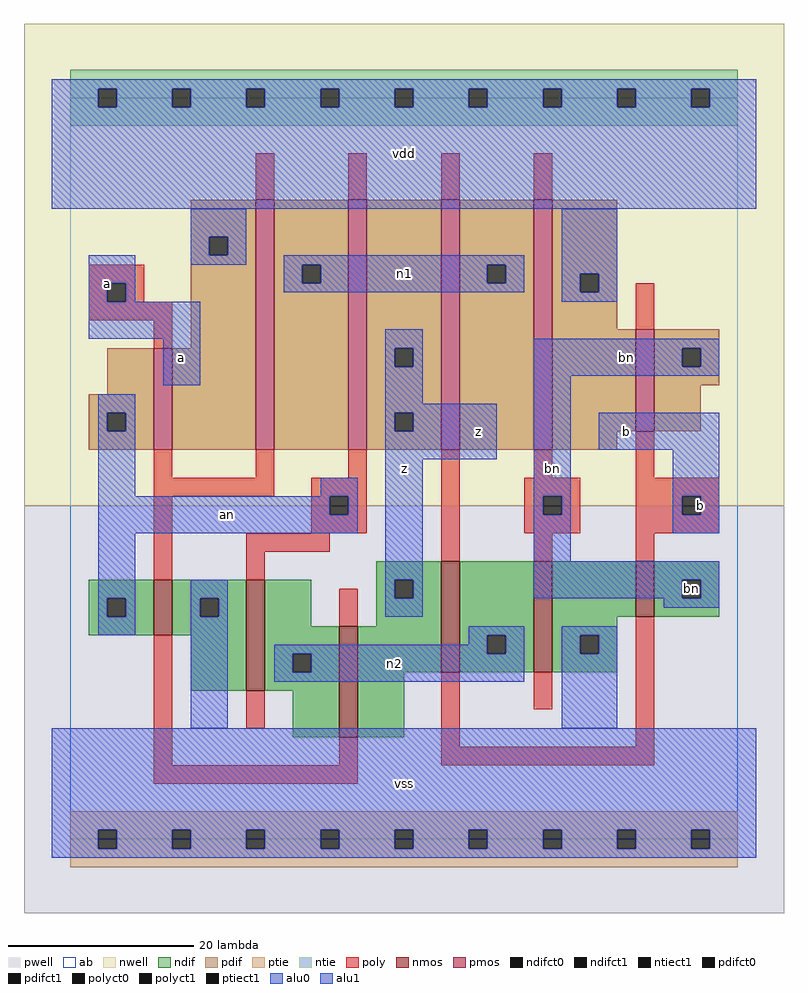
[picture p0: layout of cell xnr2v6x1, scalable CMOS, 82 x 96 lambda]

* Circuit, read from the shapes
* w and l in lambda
.subckt xnr2v6x1 a an b bn n1 n2 vdd vss z
M1 vss a an vss nfet w=6 l=2
M2 n2 an vss vss nfet w=12 l=2
M3 z a n2 vss nfet w=12 l=2
M4 n2 b z vss nfet w=12 l=2
M5 vss bn n2 vss nfet w=12 l=2
M6 bn b vss vss nfet w=6 l=2
M7 vdd a an vdd pfet w=11 l=2
M8 n1 a vdd vdd pfet w=27 l=2
M9 z an n1 vdd pfet w=27 l=2
M10 n1 b z vdd pfet w=27 l=2
M11 vdd bn n1 vdd pfet w=27 l=2
M12 bn b vdd vdd pfet w=11 l=2
.ends

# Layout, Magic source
magic
tech scmos
<< ab >>
rect 0 0 72 80
<< nwell >>
rect -5 36 77 88
<< pwell >>
rect -5 -8 77 36
<< poly >>
rect 20 69 22 74
rect 30 69 32 74
rect 40 69 42 74
rect 50 69 52 74
rect 2 60 8 62
rect 2 58 4 60
rect 6 58 8 60
rect 2 56 11 58
rect 9 53 11 56
rect 61 55 63 60
rect 9 39 11 42
rect 20 39 22 42
rect 30 39 32 42
rect 9 37 22 39
rect 26 37 32 39
rect 9 28 11 37
rect 26 35 28 37
rect 30 35 32 37
rect 26 33 32 35
rect 19 31 28 33
rect 19 28 21 31
rect 40 30 42 42
rect 50 39 52 42
rect 61 39 63 44
rect 49 37 55 39
rect 49 35 51 37
rect 53 35 55 37
rect 49 33 55 35
rect 61 37 70 39
rect 61 35 66 37
rect 68 35 70 37
rect 61 33 70 35
rect 50 30 52 33
rect 61 30 63 33
rect 9 8 11 22
rect 29 23 31 27
rect 19 12 21 16
rect 29 8 31 11
rect 40 10 42 18
rect 50 14 52 18
rect 61 10 63 24
rect 40 8 63 10
rect 9 6 31 8
<< ndif >>
rect 33 28 40 30
rect 2 26 9 28
rect 2 24 4 26
rect 6 24 9 26
rect 2 22 9 24
rect 11 26 19 28
rect 11 24 14 26
rect 16 24 19 26
rect 11 22 19 24
rect 13 16 19 22
rect 21 23 26 28
rect 33 26 35 28
rect 37 26 40 28
rect 33 23 40 26
rect 21 20 29 23
rect 21 18 24 20
rect 26 18 29 20
rect 21 16 29 18
rect 24 11 29 16
rect 31 18 40 23
rect 42 22 50 30
rect 42 20 45 22
rect 47 20 50 22
rect 42 18 50 20
rect 52 24 61 30
rect 63 28 70 30
rect 63 26 66 28
rect 68 26 70 28
rect 63 24 70 26
rect 52 22 59 24
rect 52 20 55 22
rect 57 20 59 22
rect 52 18 59 20
rect 31 11 36 18
<< pdif >>
rect 13 65 20 69
rect 13 63 15 65
rect 17 63 20 65
rect 13 53 20 63
rect 4 48 9 53
rect 2 46 9 48
rect 2 44 4 46
rect 6 44 9 46
rect 2 42 9 44
rect 11 42 20 53
rect 22 62 30 69
rect 22 60 25 62
rect 27 60 30 62
rect 22 42 30 60
rect 32 53 40 69
rect 32 51 35 53
rect 37 51 40 53
rect 32 46 40 51
rect 32 44 35 46
rect 37 44 40 46
rect 32 42 40 44
rect 42 62 50 69
rect 42 60 45 62
rect 47 60 50 62
rect 42 42 50 60
rect 52 61 59 69
rect 52 59 55 61
rect 57 59 59 61
rect 52 55 59 59
rect 52 44 61 55
rect 63 53 70 55
rect 63 51 66 53
rect 68 51 70 53
rect 63 49 70 51
rect 63 44 68 49
rect 52 42 59 44
<< alu1 >>
rect -2 81 74 82
rect -2 79 3 81
rect 5 79 11 81
rect 13 79 19 81
rect 21 79 27 81
rect 29 79 35 81
rect 37 79 43 81
rect 45 79 51 81
rect 53 79 59 81
rect 61 79 67 81
rect 69 79 74 81
rect -2 68 74 79
rect 2 60 7 63
rect 2 58 4 60
rect 6 58 7 60
rect 2 54 14 58
rect 10 49 14 54
rect 34 53 38 55
rect 34 51 35 53
rect 37 51 38 53
rect 34 47 38 51
rect 34 46 46 47
rect 34 44 35 46
rect 37 44 46 46
rect 34 41 46 44
rect 34 28 38 41
rect 34 26 35 28
rect 37 26 38 28
rect 57 42 70 46
rect 65 37 70 42
rect 65 35 66 37
rect 68 35 70 37
rect 65 33 70 35
rect 34 24 38 26
rect -2 1 74 12
rect -2 -1 3 1
rect 5 -1 11 1
rect 13 -1 19 1
rect 21 -1 27 1
rect 29 -1 35 1
rect 37 -1 43 1
rect 45 -1 51 1
rect 53 -1 59 1
rect 61 -1 67 1
rect 69 -1 74 1
rect -2 -2 74 -1
<< ptie >>
rect 0 1 72 3
rect 0 -1 3 1
rect 5 -1 11 1
rect 13 -1 19 1
rect 21 -1 27 1
rect 29 -1 35 1
rect 37 -1 43 1
rect 45 -1 51 1
rect 53 -1 59 1
rect 61 -1 67 1
rect 69 -1 72 1
rect 0 -3 72 -1
<< ntie >>
rect 0 81 72 83
rect 0 79 3 81
rect 5 79 11 81
rect 13 79 19 81
rect 21 79 27 81
rect 29 79 35 81
rect 37 79 43 81
rect 45 79 51 81
rect 53 79 59 81
rect 61 79 67 81
rect 69 79 72 81
rect 0 77 72 79
<< nmos >>
rect 9 22 11 28
rect 19 16 21 28
rect 29 11 31 23
rect 40 18 42 30
rect 50 18 52 30
rect 61 24 63 30
<< pmos >>
rect 9 42 11 53
rect 20 42 22 69
rect 30 42 32 69
rect 40 42 42 69
rect 50 42 52 69
rect 61 44 63 55
<< polyct0 >>
rect 28 35 30 37
rect 51 35 53 37
<< polyct1 >>
rect 4 58 6 60
rect 66 35 68 37
<< ndifct0 >>
rect 4 24 6 26
rect 14 24 16 26
rect 24 18 26 20
rect 45 20 47 22
rect 66 26 68 28
rect 55 20 57 22
<< ndifct1 >>
rect 35 26 37 28
<< ntiect1 >>
rect 3 79 5 81
rect 11 79 13 81
rect 19 79 21 81
rect 27 79 29 81
rect 35 79 37 81
rect 43 79 45 81
rect 51 79 53 81
rect 59 79 61 81
rect 67 79 69 81
<< ptiect1 >>
rect 3 -1 5 1
rect 11 -1 13 1
rect 19 -1 21 1
rect 27 -1 29 1
rect 35 -1 37 1
rect 43 -1 45 1
rect 51 -1 53 1
rect 59 -1 61 1
rect 67 -1 69 1
<< pdifct0 >>
rect 15 63 17 65
rect 4 44 6 46
rect 25 60 27 62
rect 45 60 47 62
rect 55 59 57 61
rect 66 51 68 53
<< pdifct1 >>
rect 35 51 37 53
rect 35 44 37 46
<< alu0 >>
rect 13 65 19 68
rect 13 63 15 65
rect 17 63 19 65
rect 13 62 19 63
rect 23 62 49 63
rect 23 60 25 62
rect 27 60 45 62
rect 47 60 49 62
rect 23 59 49 60
rect 53 61 59 68
rect 53 59 55 61
rect 57 59 59 61
rect 53 58 59 59
rect 3 46 7 48
rect 3 44 4 46
rect 6 44 7 46
rect 3 37 7 44
rect 50 53 70 54
rect 50 51 66 53
rect 68 51 70 53
rect 50 50 70 51
rect 27 37 31 39
rect 3 35 28 37
rect 30 35 31 37
rect 3 33 31 35
rect 3 26 7 33
rect 3 24 4 26
rect 6 24 7 26
rect 3 22 7 24
rect 13 26 17 28
rect 13 24 14 26
rect 16 24 17 26
rect 50 37 54 50
rect 50 35 51 37
rect 53 35 54 37
rect 50 30 54 35
rect 50 28 70 30
rect 50 26 66 28
rect 68 26 70 28
rect 64 25 70 26
rect 13 12 17 24
rect 43 22 49 23
rect 43 21 45 22
rect 22 20 45 21
rect 47 20 49 22
rect 22 18 24 20
rect 26 18 49 20
rect 22 17 49 18
rect 53 22 59 23
rect 53 20 55 22
rect 57 20 59 22
rect 53 12 59 20
<< labels >>
rlabel alu0 17 35 17 35 6 an
rlabel alu0 35 19 35 19 6 n2
rlabel alu0 36 61 36 61 6 n1
rlabel ndifct0 67 27 67 27 6 bn
rlabel alu0 52 40 52 40 6 bn
rlabel alu0 60 52 60 52 6 bn
rlabel alu1 12 52 12 52 6 a
rlabel alu1 4 60 4 60 6 a
rlabel alu1 36 6 36 6 6 vss
rlabel alu1 44 44 44 44 6 z
rlabel alu1 36 40 36 40 6 z
rlabel alu1 36 74 36 74 6 vdd
rlabel alu1 68 36 68 36 6 b
rlabel alu1 60 44 60 44 6 b
<< end >>
